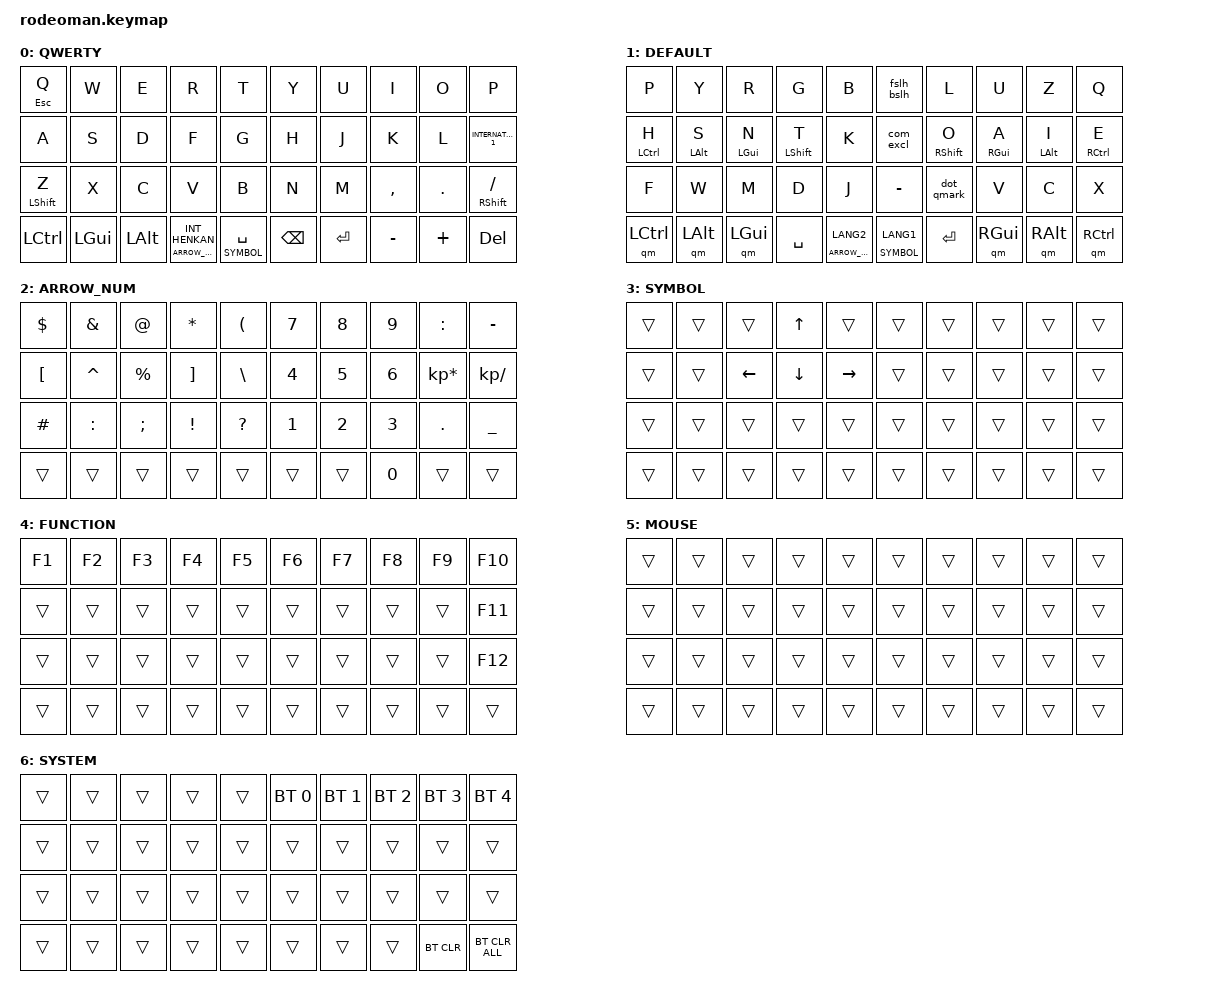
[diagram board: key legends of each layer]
#include <behaviors.dtsi>
#include <dt-bindings/zmk/keys.h>
#include <dt-bindings/zmk/bt.h>
#include <dt-bindings/zmk/outputs.h>
#include <behaviors/rgbled_widget.dtsi>

#define JP_DQUOTE       AT                // "
#define JP_AMPERSAND    CARET             // &
#define JP_QUOTE        AMPERSAND         // '
#define JP_EQUAL        UNDER             // =
#define JP_CARET        EQUAL             // ^
#define JP_YEN          0x89              // ¥
#define JP_PLUS         COLON             // +
#define JP_TILDE        PLUS              // ~
#define JP_PIPE         LS(0x89)          // |
#define JP_AT           LEFT_BRACKET      // @
#define JP_COLON        SINGLE_QUOTE      // :
#define JP_ASTERISK     DOUBLE_QUOTES     // *
#define JP_BACKQUOTE    LEFT_BRACE        // `
#define JP_UNDERSCORE   LS(0x87)          // _
#define JP_LBRACKET     RIGHT_BRACKET     // [
#define JP_RBRACKET     BACKSLASH         // ]
#define JP_LPAREN       ASTERISK          // (
#define JP_RPAREN       LEFT_PARENTHESIS  // )
#define JP_LBRACE       RIGHT_BRACE       // {
#define JP_RBRACE       PIPE              // }
#define JP_KANA         LANGUAGE_1        // かな
#define JP_EISU         LANGUAGE_2        // 英数
#define JP_HANZEN       GRAVE             // 半角/全角

#define QWERTY 0
#define DEFAULT 1
#define ARROW_NUM 2
#define SYMBOL 3
#define FUNCTION 4
#define MOUSE 5
#define SYSTEM 6

&mt {                                            // モッドタップの設定(単押し、長押しの切り替えとか)
    flavor = "tap-preferred";                   // hold-preferredは長押しか単押しかあいまいな時は長押しにする。tap-preferredもある。
    tapping-term-ms = <500>;                     // 200msを超えると長押し判定になる。
    quick-tap-ms = <0>;                          // 連打判定を無効化
};

&lt {                                            // レイヤータップの設定(単押し、長押し(レイヤー変更)の切り替えとか)
    flavor = "hold-preferred";                   // hold-preferredは長押しか単押しかあいまいな時は長押しにする。tap-preferredもある。
};

/ {                                              // ここから本体の記述が始まる。

    conditional_layers {
        compatible = "zmk,conditional-layers";
        tri_layer {                               // triレイヤーの設定
            if-layers = <ARROW_NUM SYMBOL>;       // ARROW_NUMレイヤーとSYMBOLレイヤーを同時押しすると
            then-layer = <FUNCTION>;              // FUNCTION レイヤーが有効になる。
        };
    };

    combos {                                      // 同時押し設定
        compatible = "zmk,combos";

        // esc {
            // bindings = <&kp ESC>;              // 20番キーと21番キーを同時押しするとESC
            // key-positions = <20 21>;           // キーボードを左右合体させて、一番左上が0、右上が9、左下が30、右下が39
            // timeout-ms = <80>;                 // 80ms以内に
        // };

        tab {
            bindings = <&kp TAB>;                 // 1番キーと3番キーを同時押しするとTAB
            key-positions = <11 12>;
            timeout-ms = <80>;                    // 80ms以内に
        };

        // plus {
            // bindings = <&kp PLUS>;             // 16番キーと17番キーを同時押しすると+
            // key-positions = <16 17>;
            // timeout-ms = <80>;                 // 80ms以内に
            // layers = <ARROW_NUM>;              // ARROW_NUMレイヤーで
        // };

        // minus {
            // bindings = <&kp MINUS>;            // 26番キーと27番キーを同時押しすると-
            // key-positions = <26 27>;
            // timeout-ms = <80>;                 // 80ms以内に
            // layers = <ARROW_NUM>;              // ARROW_NUMレイヤーで
        // };

        // astrk {
            // bindings = <&kp ASTRK>;            // 17番キーと18番キーを同時押しすると*
            // key-positions = <17 18>;
            // timeout-ms = <80>;                 // 80ms以内に
            // layers = <ARROW_NUM>;              // ARROW_NUMレイヤーで
        // };

        // slash {
            // bindings = <&kp SLASH>;            // 27番キーと28番キーを同時押しすると/
            // key-positions = <27 28>;
            // timeout-ms = <80>;                 // 80ms以内に
            // layers = <ARROW_NUM>;              // ARROW_NUMレイヤーで
        // };

        // qwerty_on_off {
            // bindings = <&tog QWERTY>;          // 4番キーと5番キーを同時押しするとQWERTYレイヤ―とデフォルトレイヤーを切替  
            // key-positions = <4 5>;
            // timeout-ms = <80>;                 // 80ms以内に
            // layers = <DEFAULT QWERTY>;         // デフォルトレイヤーとQWERTYレイヤーで有効
        // };

        system_on_off {
            bindings = <&mo SYSTEM>;              // 30番キーと31番キーを同時押ししてる間、SYSTEMレイヤーに切り替え  
            key-positions = <30 31>;
            timeout-ms = <80>;                    // 80ms以内に
        };
    };

    behaviors {                                      // ここで新しいbehaviorを定義している
        com_excl: comma_exclamation {                // 新しいbehavior:com_exc1
            compatible = "zmk,behavior-mod-morph";   // mod-morphを使うという意味(mod-morphは修飾キーが押されているのみ別キーに変化する機能)
            #binding-cells = <0>;
            bindings = <&kp COMMA>, <&kp EXCL>;      // kp com_exc1として通常は「,」、シフトを押しながらだと「！」になるbehavior作成した。
            mods = <(MOD_LSFT)>;                     // 何を押しながらかを指定
        };
        dot_qmark: dot_question {                    // 新しいbehavior:dot_qmark
            compatible = "zmk,behavior-mod-morph";   // mod-morphを使うという意味
            #binding-cells = <0>;
            bindings = <&kp DOT>, <&kp QMARK>;       // kp dot_qmarkとして通常は「.」、シフトを押しながらだと「?」になるbehavior作成した。
            mods = <(MOD_LSFT)>;                     // 何を押しながらかを指定
        };
        fslh_bslh: slash_backslash {                 // 新しいbehavior:fslh_bslh
            compatible = "zmk,behavior-mod-morph";   // mod-morphを使うという意味
            #binding-cells = <0>;
            bindings = <&kp SLASH>, <&kp BACKSLASH>; // kp fslh_bslhとして通常は「.」、シフトを押しながらだと「?」になるbehavior作成した。
            mods = <(MOD_LSFT)>;                     // 何を押しながらかを指定
        };
        hmql: home_row_mod_qwerty_left {             // ここからホームポジションモッドに関する記述　デフォルトレイヤーでもQWERTYレイヤーでも上から2段目の行をCTRL、ALT、GUI、SHIFとして扱うための記述(すべて長押し)
            compatible = "zmk,behavior-hold-tap";    // タップと長押しで動作を変えるという意味
            #binding-cells = <2>;                    // この動作は2個の引数を受け取るという意味(たとえば「 &hmq1 LCTRL H 」のような感じ)
            flavor = "balanced";
            require-prior-idle-ms = <150>;           // 直前に150ms休止があればタップ優先
            tapping-term-ms = <280>;                 // 280ms以内ならタップとして扱う
            quick-tap-ms = <175>;                    // 素早い連打をタップとして扱う
            bindings = <&qm>, <&kp>;                  
            hold-trigger-key-positions = <5 6 7 8 9 15 16 17 18 19 25 26 27 28 29 35 36 37 38 39>;
            hold-trigger-on-release;
        };
        hmqr: home_row_mod_qwerty_right {            // hmqlの右手版
            compatible = "zmk,behavior-hold-tap";
            #binding-cells = <2>;
            flavor = "balanced";
            require-prior-idle-ms = <150>;
            tapping-term-ms = <280>;
            quick-tap-ms = <175>;
            bindings = <&qm>, <&kp>;
            hold-trigger-key-positions = <0 1 2 3 4 10 11 12 13 14 20 21 22 23 24 30 31 32 33 34>;
            hold-trigger-on-release;
        };
        hml: home_row_mod_left {                    // hmqlの簡易版　こちらはQWERTYレイヤーで使う
            compatible = "zmk,behavior-hold-tap";
            #binding-cells = <2>;
            flavor = "balanced";
            require-prior-idle-ms = <150>;
            tapping-term-ms = <280>;
            quick-tap-ms = <175>;
            bindings = <&kp>, <&kp>;
            hold-trigger-key-positions = <5 6 7 8 9 15 16 17 18 19 25 26 27 28 29 35 36 37 38 39>;
            hold-trigger-on-release;
        };
        hmr: home_row_mod_right {                   // hmqrの簡易版 こちらはQWERTYレイヤーで使う
            compatible = "zmk,behavior-hold-tap";
            #binding-cells = <2>;
            flavor = "balanced";
            require-prior-idle-ms = <150>;
            tapping-term-ms = <280>;
            quick-tap-ms = <175>;
            bindings = <&kp>, <&kp>;
            hold-trigger-key-positions = <0 1 2 3 4 10 11 12 13 14 20 21 22 23 24 30 31 32 33 34>;
            hold-trigger-on-release;
        };
    };

    macros {
        qm: qwerty_m {
            compatible = "zmk,behavior-macro-one-param";
            wait-ms = <0>;
            tap-ms = <0>;
            #binding-cells = <1>;
            bindings
                = <&macro_press &mo QWERTY>
                , <&macro_param_1to1>
                , <&macro_press &kp MACRO_PLACEHOLDER>
                , <&macro_pause_for_release>
                , <&macro_param_1to1>
                , <&macro_release &kp MACRO_PLACEHOLDER>
                , <&macro_release &mo QWERTY>
                ;
        };
    };

    keymap {
        compatible = "zmk,keymap";

         QWERTY {
             bindings = < 
                &mt ESCAPE Q       &kp W          &kp E          &kp R                        &kp T                     &kp Y             &kp U            &kp I          &kp O          &kp P
                &kp A              &kp S          &kp D          &kp F                        &kp G                     &kp H             &kp J            &kp K          &kp L          &kp INTERNATIONAL_1
                &mt LEFT_SHIFT Z   &kp X          &kp C          &kp V                        &kp B                     &kp N             &kp M            &kp COMMA      &kp DOT        &mt RSHFT SLASH
                &kp LCTRL          &kp LGUI       &kp LALT       &lt ARROW_NUM INT_HENKAN     &lt SYMBOL SPACE          &kp BACKSPACE     &kp ENTER        &kp MINUS       &kp PLUS       &kp DEL
            >;
        };

        DEFAULT {
            bindings = <

                &kp P            &kp Y           &kp R           &kp G            &kp B                     &fslh_bslh          &kp L            &kp U           &kp Z           &kp Q
                &hmql LCTRL H    &hmql LALT S    &hmql LGUI N    &hml LSHIFT T    &kp K                     &com_excl           &hmr RSHIFT O    &hmqr RGUI A    &hmqr LALT I    &hmqr RCTRL E
                &kp F            &kp W           &kp M           &kp D            &kp J                     &kp MINUS           &dot_qmark       &kp V           &kp C           &kp X
                &qm LCTRL        &qm LALT        &qm LGUI        &kp SPACE        &lt ARROW_NUM LANG2       &lt SYMBOL LANG1    &kp ENTER        &qm RGUI        &qm RALT        &qm RCTRL
            >;
        };
       
        ARROW_NUM {
            bindings = <
                &kp DLLR          &kp AMPERSAND         &kp JP_DQUOTE    &kp JP_LPAREN     &kp JP_RPAREN          &kp N7     &kp N8    &kp N9    &kp COLON           &kp MINUS
                &kp JP_AT         &kp CARET             &kp PERCENT      &kp JP_LBRACKET   &kp JP_RBRACKET        &kp N4     &kp N5    &kp N6    &kp KP_MULTIPLY    &kp KP_DIVIDE
                &kp HASH          &kp COLON             &kp SEMI         &kp EXCLAMATION   &kp QUESTION           &kp N1     &kp N2    &kp N3    &kp DOT            &kp JP_EQUAL
                &trans            &trans                &trans           &trans            &trans                 &trans     &trans    &kp N0    &trans             &trans
            >;
        };

        SYMBOL {
            bindings = <
                &trans       &trans       &trans           &kp UP              &trans               &trans      &trans       &trans     &trans    &trans
                &trans       &trans       &kp LEFT_ARROW   &kp DOWN_ARROW      &kp RIGHT_ARROW      &trans      &trans       &trans     &trans    &trans
                &trans       &trans       &trans           &trans              &trans               &trans      &trans       &trans     &trans    &trans
                &trans       &trans       &trans           &trans              &trans               &trans      &trans       &trans     &trans    &trans
            >;  
        };

        FUNCTION {
            bindings = <
                &kp F1    &kp F2    &kp F3    &kp F4    &kp F5         &kp F6    &kp F7    &kp F8    &kp F9    &kp F10
                &trans    &trans    &trans    &trans    &trans         &trans    &trans    &trans    &trans    &kp F11
                &trans    &trans    &trans    &trans    &trans         &trans    &trans    &trans    &trans    &kp F12
                &trans    &trans    &trans    &trans    &trans         &trans    &trans    &trans    &trans    &trans
            >;
        };

        MOUSE {
            bindings = <
                &trans    &trans    &trans    &trans    &trans         &trans    &trans    &trans    &trans    &trans
                &trans    &trans    &trans    &trans    &trans         &trans    &trans    &trans    &trans    &trans
                &trans    &trans    &trans    &trans    &trans         &trans    &trans    &trans    &trans    &trans
                &trans    &trans    &trans    &trans    &trans         &trans    &trans    &trans    &trans    &trans
            >;
        };

        SYSTEM {
            bindings = <
                &trans    &trans    &trans    &trans    &trans         &bt BT_SEL 0    &bt BT_SEL 1    &bt BT_SEL 2    &bt BT_SEL 3    &bt BT_SEL 4
                &trans    &trans    &trans    &trans    &trans         &trans          &trans          &trans          &trans          &trans
                &trans    &trans    &trans    &trans    &trans         &trans          &trans          &trans          &trans          &trans
                &trans    &trans    &trans    &trans    &trans         &trans          &trans          &trans          &bt BT_CLR      &bt BT_CLR_ALL
            >;  
        };
    };
 };
